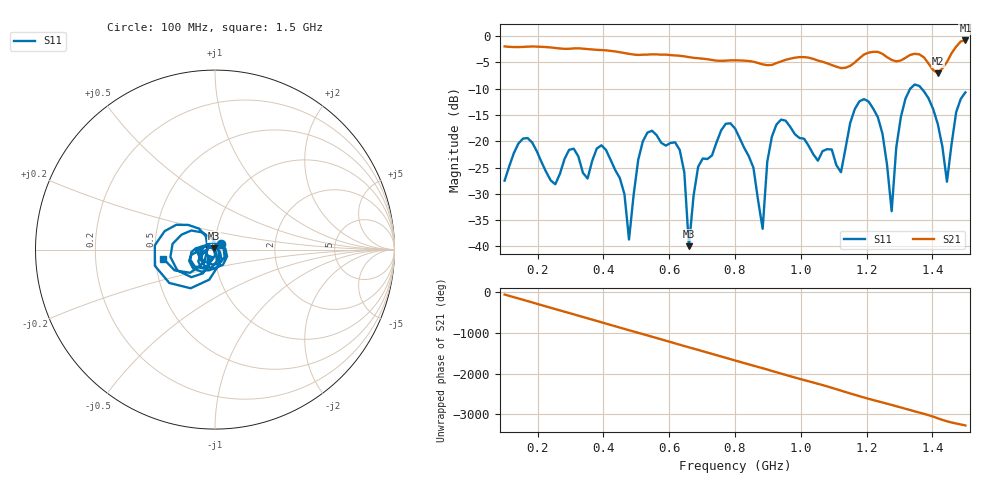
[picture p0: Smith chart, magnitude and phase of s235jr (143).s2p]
! NanoVNA-App
! Date: 2025-09-25 15:05:16
! Start: 100MHz Stop: 1,5GHz Points: 101
! S-Parameter data: F S11 S21 S12 S22
# Hz S RI R 50
!  Frequency  S11_Real  S11_Imag  S21_Real  S21_Imag  S12_Real  S12_Imag  S22_Real  S22_Imag
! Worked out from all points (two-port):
!   101 points, 100 MHz to 1.5 GHz, reference 50 ohm
!   highest |S21| = -0.83 dB at 1.5 GHz (marker M1); lowest = -7.1 dB at 1.416 GHz (marker M2)
!   |S21| within 3 dB of the highest: start of sweep to 643.4 MHz; 1.186 GHz to 1.258 GHz (72.39 MHz wide, 5.92 % of centre) (the widest 2 of 4)
!   lowest |S11| = -39.9 dB at 660 MHz (marker M3), VSWR 1.02, Z = 49.2 + j0.635 ohm
!   |S11| at or under -10 dB: start of sweep to 1.332 GHz; 1.367 GHz to end of sweep
!   S12 and S22 are empty: the file has one direction only
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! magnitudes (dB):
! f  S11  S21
! 100 MHz  -27.5  -2.0
! 170 MHz  -19.4  -2.0
! 338 MHz  -26.0  -2.4
! 408 MHz  -21.6  -2.7
! 478 MHz  -38.7  -3.4
! 520 MHz  -20.0  -3.5
! 576 MHz  -20.3  -3.5
! 632 MHz  -21.6  -3.7
! 660 MHz  -39.9  -4.0
! 688 MHz  -24.9  -4.2
! 800 MHz  -17.6  -4.6
! 884 MHz  -36.6  -5.4
! 926 MHz  -16.8  -5.1
! 1.038 GHz  -22.5  -4.3
! 1.122 GHz  -25.9  -6.1
! 1.206 GHz  -12.4  -3.1
! 1.248 GHz  -18.5  -3.4
! 1.276 GHz  -33.3  -4.5
! 1.332 GHz  -10.0  -3.6
! 1.416 GHz  -16.7  -7.1
! 1.444 GHz  -27.7  -4.9
! 1.5 GHz  -10.7  -0.8
